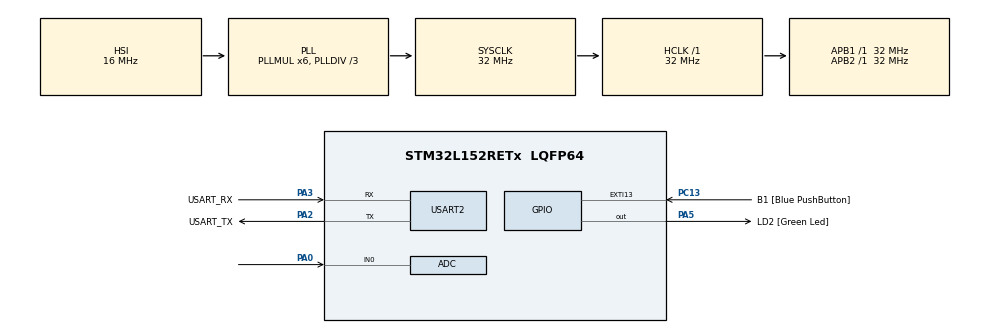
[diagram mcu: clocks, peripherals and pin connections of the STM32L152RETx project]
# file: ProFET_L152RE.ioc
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ADC.Channel-0\#ChannelRegularConversion=ADC_CHANNEL_0
ADC.NbrOfConversionFlag=1
ADC.Rank-0\#ChannelRegularConversion=1
ADC.SamplingTime-0\#ChannelRegularConversion=ADC_SAMPLETIME_4CYCLES
Mcu.Family=STM32L1
Mcu.Name=STM32L152RETx
Mcu.Package=LQFP64
NVIC.PriorityGroup=NVIC_PRIORITYGROUP_0
PA0-WKUP1.Mode=IN0
PA0-WKUP1.Signal=ADC_IN0
PA13.GPIO_Label=TMS
PA13.Mode=Serial_Wire
PA13.Signal=SYS_JTMS-SWDIO
PA14.GPIO_Label=TCK
PA14.Mode=Serial_Wire
PA14.Signal=SYS_JTCK-SWCLK
PA2.GPIO_Label=USART_TX
PA2.Mode=Asynchronous
PA2.Signal=USART2_TX
PA3.GPIO_Label=USART_RX
PA3.Mode=Asynchronous
PA3.Signal=USART2_RX
PA5.GPIO_Label=LD2 [Green Led]
PA5.Signal=GPIO_Output
PB3.GPIO_Label=SWO
PB3.Signal=SYS_JTDO-TRACESWO
PC13-WKUP2.GPIO_Label=B1 [Blue PushButton]
PC13-WKUP2.Signal=GPXTI13
PC14-OSC32_IN.Signal=RCC_OSC32_IN
PC15-OSC32_OUT.Signal=RCC_OSC32_OUT
PH0-OSC_IN.Mode=HSE-External-Oscillator
PH0-OSC_IN.Signal=RCC_OSC_IN
PH1-OSC_OUT.Mode=HSE-External-Oscillator
PH1-OSC_OUT.Signal=RCC_OSC_OUT
ProjectManager.HeapSize=0x200
ProjectManager.StackSize=0x400
ProjectManager.TargetToolchain=STM32CubeIDE
RCC.48MHZClocksFreq_Value=48000000
RCC.AHBFreq_Value=32000000
RCC.APB1Freq_Value=32000000
RCC.APB1TimFreq_Value=32000000
RCC.APB2Freq_Value=32000000
RCC.APB2TimFreq_Value=32000000
RCC.HCLKFreq_Value=32000000
RCC.HSE_VALUE=8000000
RCC.HSI_VALUE=16000000
RCC.MSI_VALUE=2097000
RCC.PLLDIV=RCC_PLL_DIV3
RCC.PLLMUL=RCC_PLL_MUL6
RCC.RTCClockSelectionVirtual=RCC_RTCCLKSOURCE_LSE
RCC.SYSCLKFreq_VALUE=32000000
RCC.SYSCLKSource=RCC_SYSCLKSOURCE_PLLCLK
RCC.USBOutput=48000000
RCC.VCOOutputFreq_Value=96000000
USART2.VirtualMode=VM_ASYNC
board=NUCLEO-L152RE

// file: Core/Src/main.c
/* USER CODE BEGIN Header */
/**
  ******************************************************************************
  * @file           : main.c
  * @brief          : Main program body
  ******************************************************************************
  * @attention
  *
  * Copyright (c) 2023 STMicroelectronics.
  * All rights reserved.
  *
  * This software is licensed under terms that can be found in the LICENSE file
  * in the root directory of this software component.
  * If no LICENSE file comes with this software, it is provided AS-IS.
  *
  ******************************************************************************
  */
/* USER CODE END Header */
#include "main.h"

/* USER CODE BEGIN Includes */
#include "hss-shield.h"

/* USER CODE END Includes */

ADC_HandleTypeDef hadc;

UART_HandleTypeDef huart2;

void SystemClock_Config(void);
static void MX_GPIO_Init(void);
static void MX_USART2_UART_Init(void);
static void MX_ADC_Init(void);

/* USER CODE BEGIN 0 */
int flag = 1;

float voltage;

float iss_1;
float iss_2;
float iss_3;
float iss_4;

uint16_t adc1;
uint16_t adc2;
uint16_t adc3;
uint16_t adc4;
uint16_t adc5;
uint16_t adc6;

uint16_t adc[4];

uint16_t var = 0;
float val = 0.0;

enum DiagStatus_t diag1;
enum DiagStatus_t diag2;
enum DiagStatus_t diag3;
enum DiagStatus_t diag4;
/* USER CODE END 0 */

int main(void)
{

  /* MCU Configuration--------------------------------------------------------*/

  /* Reset of all peripherals, Initializes the Flash interface and the Systick. */
  HAL_Init();

  /* Configure the system clock */
  SystemClock_Config();

  /* Initialize all configured peripherals */
  MX_GPIO_Init();
  MX_USART2_UART_Init();
  MX_ADC_Init();
  /* USER CODE BEGIN 2 */
  HSS_Shield_GPIO_Init();
  HSS_Shield_ADC_Init(&hadc);

  /* USER CODE END 2 */

  /* Infinite loop */
  while (1)
  {
	  //enable_CH(CHANNEL_ALL);

    /* USER CODE BEGIN 3 */
	  enable_CH(CHANNEL_ALL);
	  //enable_CH(CHANNEL2);
	  enable_diag(CHANNEL2);
	  enable_diag(CHANNEL3);
	  enable_diag(CHANNEL4);

	  while(1){
		  	  	//disable_CH(CHANNEL_ALL);
			    adc1 = analog_read(&hadc, 1);
	  			adc2 = analog_read(&hadc, 2);
	  			adc3 = analog_read(&hadc, 3);
	  			adc4 = analog_read(&hadc, 4);

	  			voltage = readVss(&hadc);

	  			iss_1 = readIs(&hadc, CHANNEL1);
	  			iss_2 = readIs(&hadc, CHANNEL2);
	  			//HAL_Delay(1000);
	  			iss_3 = readIs(&hadc, CHANNEL3);
	  			iss_4 = readIs(&hadc, CHANNEL4);
	  			//HAL_Delay(1000);

	  			diag1 = diagRead_State(&hadc, CHANNEL1);
	  			diag2 = diagRead_State(&hadc, CHANNEL2);
	  			diag3 = diagRead_State(&hadc, CHANNEL3);
	  			diag4 = diagRead_State(&hadc, CHANNEL4);
	  			//HAL_Delay(1000);
	  }
  }
  /* USER CODE END 3 */
}

void SystemClock_Config(void)
{
  RCC_OscInitTypeDef RCC_OscInitStruct = {0};
  RCC_ClkInitTypeDef RCC_ClkInitStruct = {0};

  /** Configure the main internal regulator output voltage
  */
  __HAL_PWR_VOLTAGESCALING_CONFIG(PWR_REGULATOR_VOLTAGE_SCALE1);

  /** Initializes the RCC Oscillators according to the specified parameters
  * in the RCC_OscInitTypeDef structure.
  */
  RCC_OscInitStruct.OscillatorType = RCC_OSCILLATORTYPE_HSI;
  RCC_OscInitStruct.HSIState = RCC_HSI_ON;
  RCC_OscInitStruct.HSICalibrationValue = RCC_HSICALIBRATION_DEFAULT;
  RCC_OscInitStruct.PLL.PLLState = RCC_PLL_ON;
  RCC_OscInitStruct.PLL.PLLSource = RCC_PLLSOURCE_HSI;
  RCC_OscInitStruct.PLL.PLLMUL = RCC_PLL_MUL6;
  RCC_OscInitStruct.PLL.PLLDIV = RCC_PLL_DIV3;
  if (HAL_RCC_OscConfig(&RCC_OscInitStruct) != HAL_OK)
  {
    Error_Handler();
  }

  /** Initializes the CPU, AHB and APB buses clocks
  */
  RCC_ClkInitStruct.ClockType = RCC_CLOCKTYPE_HCLK|RCC_CLOCKTYPE_SYSCLK
                              |RCC_CLOCKTYPE_PCLK1|RCC_CLOCKTYPE_PCLK2;
  RCC_ClkInitStruct.SYSCLKSource = RCC_SYSCLKSOURCE_PLLCLK;
  RCC_ClkInitStruct.AHBCLKDivider = RCC_SYSCLK_DIV1;
  RCC_ClkInitStruct.APB1CLKDivider = RCC_HCLK_DIV1;
  RCC_ClkInitStruct.APB2CLKDivider = RCC_HCLK_DIV1;

  if (HAL_RCC_ClockConfig(&RCC_ClkInitStruct, FLASH_LATENCY_1) != HAL_OK)
  {
    Error_Handler();
  }
}

static void MX_ADC_Init(void)
{

  ADC_ChannelConfTypeDef sConfig = {0};

  /** Configure the global features of the ADC (Clock, Resolution, Data Alignment and number of conversion)
  */
  hadc.Instance = ADC1;
  hadc.Init.ClockPrescaler = ADC_CLOCK_ASYNC_DIV1;
  hadc.Init.Resolution = ADC_RESOLUTION_12B;
  hadc.Init.DataAlign = ADC_DATAALIGN_RIGHT;
  hadc.Init.ScanConvMode = ADC_SCAN_DISABLE;
  hadc.Init.EOCSelection = ADC_EOC_SEQ_CONV;
  hadc.Init.LowPowerAutoWait = ADC_AUTOWAIT_DISABLE;
  hadc.Init.LowPowerAutoPowerOff = ADC_AUTOPOWEROFF_DISABLE;
  hadc.Init.ChannelsBank = ADC_CHANNELS_BANK_A;
  hadc.Init.ContinuousConvMode = DISABLE;
  hadc.Init.NbrOfConversion = 1;
  hadc.Init.DiscontinuousConvMode = DISABLE;
  hadc.Init.ExternalTrigConv = ADC_SOFTWARE_START;
  hadc.Init.ExternalTrigConvEdge = ADC_EXTERNALTRIGCONVEDGE_NONE;
  hadc.Init.DMAContinuousRequests = DISABLE;
  if (HAL_ADC_Init(&hadc) != HAL_OK)
  {
    Error_Handler();
  }

  /** Configure for the selected ADC regular channel its corresponding rank in the sequencer and its sample time.
  */
  sConfig.Channel = ADC_CHANNEL_0;
  sConfig.Rank = ADC_REGULAR_RANK_1;
  sConfig.SamplingTime = ADC_SAMPLETIME_4CYCLES;
  if (HAL_ADC_ConfigChannel(&hadc, &sConfig) != HAL_OK)
  {
    Error_Handler();
  }

}

static void MX_USART2_UART_Init(void)
{

  huart2.Instance = USART2;
  huart2.Init.BaudRate = 115200;
  huart2.Init.WordLength = UART_WORDLENGTH_8B;
  huart2.Init.StopBits = UART_STOPBITS_1;
  huart2.Init.Parity = UART_PARITY_NONE;
  huart2.Init.Mode = UART_MODE_TX_RX;
  huart2.Init.HwFlowCtl = UART_HWCONTROL_NONE;
  huart2.Init.OverSampling = UART_OVERSAMPLING_16;
  if (HAL_UART_Init(&huart2) != HAL_OK)
  {
    Error_Handler();
  }

}

static void MX_GPIO_Init(void)
{
  GPIO_InitTypeDef GPIO_InitStruct = {0};

  /* GPIO Ports Clock Enable */
  __HAL_RCC_GPIOC_CLK_ENABLE();
  __HAL_RCC_GPIOH_CLK_ENABLE();
  __HAL_RCC_GPIOA_CLK_ENABLE();
  __HAL_RCC_GPIOB_CLK_ENABLE();

  /*Configure GPIO pin Output Level */
  HAL_GPIO_WritePin(LD2_GPIO_Port, LD2_Pin, GPIO_PIN_RESET);

  /*Configure GPIO pin : B1_Pin */
  GPIO_InitStruct.Pin = B1_Pin;
  GPIO_InitStruct.Mode = GPIO_MODE_IT_RISING;
  GPIO_InitStruct.Pull = GPIO_NOPULL;
  HAL_GPIO_Init(B1_GPIO_Port, &GPIO_InitStruct);

  /*Configure GPIO pin : LD2_Pin */
  GPIO_InitStruct.Pin = LD2_Pin;
  GPIO_InitStruct.Mode = GPIO_MODE_OUTPUT_PP;
  GPIO_InitStruct.Pull = GPIO_NOPULL;
  GPIO_InitStruct.Speed = GPIO_SPEED_FREQ_LOW;
  HAL_GPIO_Init(LD2_GPIO_Port, &GPIO_InitStruct);

}

void Error_Handler(void)
{
  __disable_irq();
  while (1)
  {
  }
}
